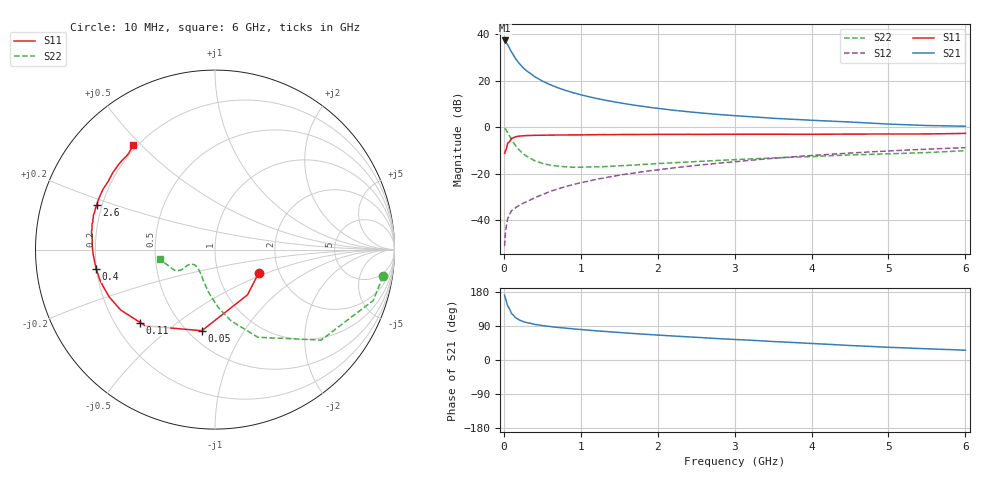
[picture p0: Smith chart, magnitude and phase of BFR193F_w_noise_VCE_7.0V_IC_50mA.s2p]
! Infineon Technologies  Discrete & RF Semiconductors
! BFR193F
! VCE =  7.0 V,  IC =  50 mA
! Common Emitter S-Parameters:  Jan 2017
# GHz  S  MA  R  50
!  f  S11  S21  S12  S22
! GHz  MAG  ANG  MAG  ANG  MAG  ANG  MAG  ANG
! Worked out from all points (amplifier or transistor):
!   77 points, 10 MHz to 6 GHz, reference 50 ohm
!   highest |S21| = 37.3 dB at 10 MHz (marker M1)
!   |S21| within 3 dB of that: start of sweep to 68.76 MHz
!   unconditionally stable (mu >= 1): 918.9 MHz to 2.607 GHz
!   at 130 MHz: K = 0.47, MSG = 32.9 dB, |S12| = -35.1 dB
!   at 2.2 GHz: K = 1.01, MAG = 11.7 dB, |S12| = -17.5 dB
!   at 6 GHz: K = 0.86, MSG = 4.6 dB, |S12| = -8.7 dB
!   lowest NFmin = 1.48 dB at 450 MHz
!   S11 on the Smith chart (normalised r, x): 10 MHz: 1.56, -0.45; 50 MHz: 0.58, -0.67; 110 MHz: 0.30, -0.37; 400 MHz: 0.20, -0.08; 2.6 GHz: 0.18, +0.18; 6 GHz: 0.19, +0.47
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0.01  0.2762 -28.5  72.96 171.3  0.0028 82.4  0.9478 -9.0
0.02  0.3104 -54.3  70.34 162.8  0.0053 77.5  0.9259 -17.9
0.05  0.4579 -99.2  59.09 142.6  0.0109 64.3  0.7767 -40.5
0.1  0.5757 -132.5  41.09 122.4  0.0161 52.8  0.5433 -64.0
0.11  0.582 -135.7  38.8 120.8  0.0166 52.6  0.5139 -66.1
0.15  0.624 -147.4  30.08 112.1  0.0186 51.9  0.4058 -77.4
0.2  0.6455 -155.8  23.41 105.7  0.021 53.5  0.3262 -86.4
0.25  0.6555 -161.5  19.05 101.6  0.0234 54.5  0.2701 -93.5
0.3  0.6635 -165.3  16.07 98.5  0.0253 57.8  0.2366 -99.3
0.4  0.6704 -170.7  12.19 94.0  0.0306 62.3  0.1917 -108.6
0.5  0.6738 -174.0  9.819 90.9  0.0357 64.8  0.1675 -115.6
0.6  0.6776 -176.7  8.225 88.3  0.0419 66.7  0.1537 -122.0
0.7  0.681 -179.3  7.07 86.0  0.0473 68.2  0.1467 -126.7
0.9  0.6849 177.2  5.525 82.2  0.0588 70.9  0.1387 -135.0
1.1  0.6892 174.2  4.538 78.7  0.0697 72.1  0.1407 -140.0
1.5  0.6972 169.4  3.357 72.6  0.0933 73.4  0.149 -146.6
2.1  0.703 163.4  2.436 64.6  0.1277 73.3  0.1693 -149.9
2.6  0.7034 159.3  2 58.7  0.1575 72.6  0.187 -149.7
3.1  0.7072 155.0  1.729 53.2  0.1882 71.6  0.205 -148.9
4.1  0.7071 146.4  1.388 42.6  0.254 67.6  0.2384 -150.7
5.1  0.7172 136.6  1.153 32.8  0.3154 62.2  0.2723 -160.2
6  0.7378 128.1  1.052 25.8  0.3653 56.9  0.3139 -170.0
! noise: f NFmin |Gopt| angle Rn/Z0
0.45  1.48  0.47  -179  0.07
0.9  1.56  0.48  -178  0.08
1.9  2.14  0.6  -163  0.09
2.4  2.45  0.62  -155  0.15
